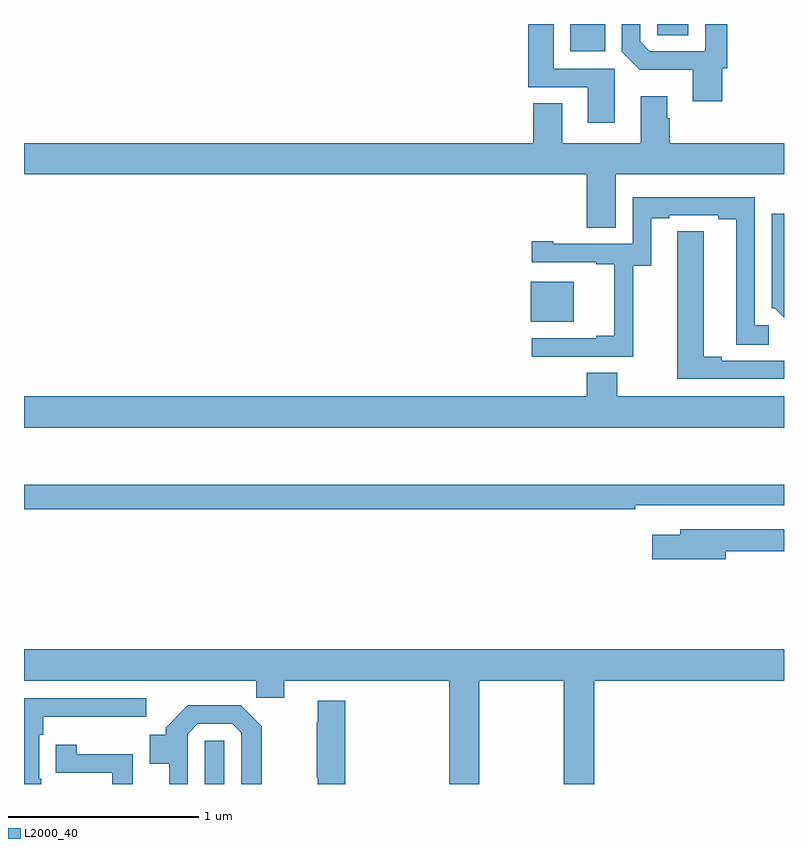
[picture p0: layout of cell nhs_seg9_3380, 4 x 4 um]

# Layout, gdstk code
import gdstk
lib = gdstk.Library(unit=1e-6, precision=1e-09)
def R(c, l, rs):  # rectangles x0, y0, x1, y1
    for r in rs: c.add(gdstk.rectangle(r[:2], r[2:], *l))
def P(c, l, *ps):  # polygons
    for p in ps: c.add(gdstk.Polygon(p, *l))
L2000_40 = (2000, 40)

nhs_seg9_3380 = lib.new_cell('nhs_seg9_3380')
R(nhs_seg9_3380, L2000_40, [(303.95,1238.5,304.054,1238.727), (305.666,1240.934,305.893,1241.143), (305.876,1242.356,306.058,1242.5), (306.333,1242.442,306.495,1242.5)])
P(nhs_seg9_3380, L2000_40, [(306.109,1242.264),(305.788,1242.264),(305.788,1242.5),(305.654,1242.5),(305.654,1242.168),(305.966,1242.168),(305.966,1241.979),(306.109,1241.979)],
  [(306.674,1242.267),(306.701,1242.267),(306.701,1242.5),(306.585,1242.5),(306.585,1242.357),(306.294,1242.357),(306.243,1242.408),(306.243,1242.5),(306.147,1242.5),(306.147,1242.354),(306.241,1242.26),(306.521,1242.26),(306.521,1242.093),(306.674,1242.093)],
  [(306.115,1241.708),(307,1241.708),(307,1241.872),(306.398,1241.872),(306.398,1242.005),(306.385,1242.005),(306.385,1242.121),(306.245,1242.121),(306.245,1241.872),(305.833,1241.872),(305.833,1242.083),(305.681,1242.083),(305.681,1241.872),(303,1241.872),(303,1241.708),(305.963,1241.708),(305.963,1241.428),(306.115,1241.428)],
  [(306.207,1241.227),(306.301,1241.227),(306.301,1241.478),(306.397,1241.478),(306.397,1241.493),(306.653,1241.493),(306.653,1241.473),(306.749,1241.473),(306.749,1240.813),(306.919,1240.813),(306.919,1240.914),(306.846,1240.914),(306.846,1241.589),(306.204,1241.589),(306.204,1241.343),(305.785,1241.343),(305.785,1241.356),(305.673,1241.356),(305.673,1241.247),(306.011,1241.247),(306.011,1241.235),(306.107,1241.235),(306.107,1240.858),(306.011,1240.858),(306.011,1240.845),(305.673,1240.845),(305.673,1240.749),(306.207,1240.749)],
  [(307,1241.501),(306.936,1241.501),(306.936,1241.004),(306.951,1241.004),(307,1240.955)],
  [(307,1240.728),(306.673,1240.728),(306.673,1240.748),(306.577,1240.748),(306.577,1241.408),(306.438,1241.408),(306.438,1241.3),(306.437,1241.3),(306.437,1240.632),(307,1240.632)],
  [(307,1240.54),(306.123,1240.54),(306.123,1240.664),(305.963,1240.664),(305.963,1240.54),(303,1240.54),(303,1240.376),(307,1240.376)],
  [(306.218,1239.966),(307,1239.966),(307,1240.075),(303,1240.075),(303,1239.946),(306.218,1239.946)],
  [(306.694,1239.724),(307,1239.724),(307,1239.84),(306.455,1239.84),(306.455,1239.811),(306.306,1239.811),(306.306,1239.682),(306.694,1239.682)],
  [(305.397,1239.044),(305.842,1239.044),(305.842,1238.5),(306.002,1238.5),(306.002,1239.044),(307,1239.044),(307,1239.208),(303,1239.208),(303,1239.044),(304.222,1239.044),(304.222,1238.954),(304.369,1238.954),(304.369,1239.044),(305.237,1239.044),(305.237,1238.5),(305.397,1238.5)],
  [(303.091,1238.528),(303.081,1238.528),(303.081,1238.759),(303.101,1238.759),(303.101,1238.855),(303.643,1238.855),(303.643,1238.952),(303,1238.952),(303,1238.5),(303.091,1238.5)],
  [(304.691,1238.938),(304.547,1238.938),(304.547,1238.825),(304.54,1238.825),(304.54,1238.536),(304.547,1238.536),(304.547,1238.5),(304.691,1238.5)],
  [(303.861,1238.763),(303.915,1238.817),(304.095,1238.817),(304.143,1238.769),(304.143,1238.5),(304.252,1238.5),(304.252,1238.804),(304.142,1238.914),(303.862,1238.914),(303.745,1238.797),(303.745,1238.758),(303.662,1238.758),(303.662,1238.606),(303.765,1238.606),(303.765,1238.5),(303.861,1238.5)],
  [(303.573,1238.657),(303.277,1238.657),(303.277,1238.707),(303.166,1238.707),(303.166,1238.558),(303.465,1238.558),(303.465,1238.5),(303.573,1238.5)])

lib.write_gds('nhs_seg9_3380.gds')
